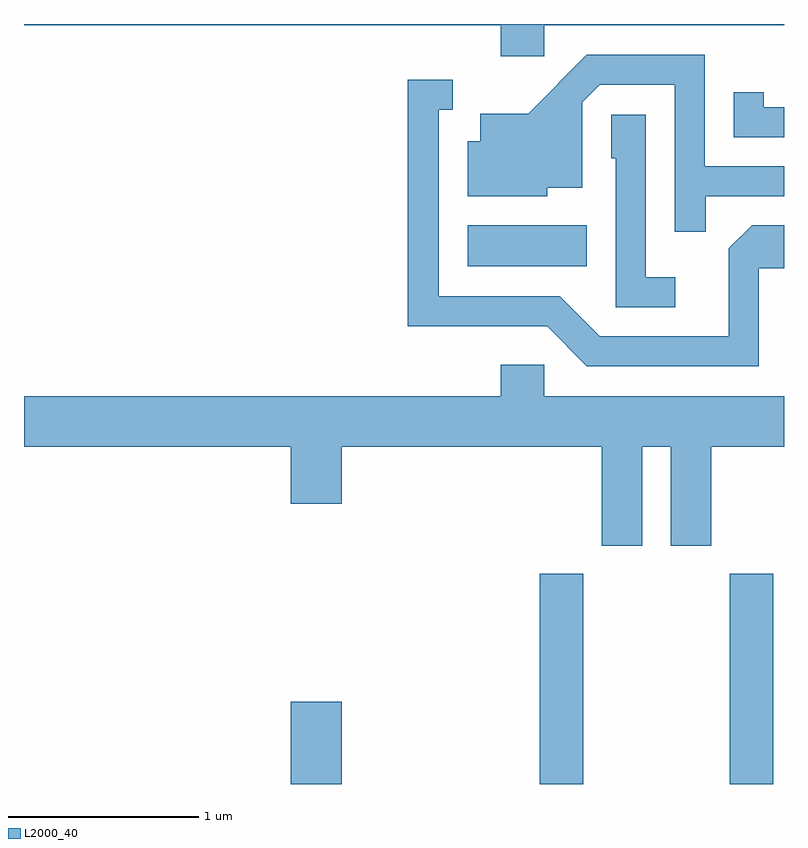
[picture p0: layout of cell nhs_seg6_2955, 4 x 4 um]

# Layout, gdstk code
import gdstk
lib = gdstk.Library(unit=1e-6, precision=1e-09)
def R(c, l, rs):  # rectangles x0, y0, x1, y1
    for r in rs: c.add(gdstk.rectangle(r[:2], r[2:], *l))
def P(c, l, *ps):  # polygons
    for p in ps: c.add(gdstk.Polygon(p, *l))
L2000_40 = (2000, 40)

nhs_seg6_2955 = lib.new_cell('nhs_seg6_2955')
R(nhs_seg6_2955, L2000_40, [(275.016,1648.162,275.284,1648.594), (276.326,1648.162,276.554,1649.269), (277.326,1648.162,277.554,1649.269), (275.946,1650.886,276.574,1651.104)])
P(nhs_seg6_2955, L2000_40, [(276.349,1652.156),(277.611,1652.156),(277.611,1652.162),(273.611,1652.162),(273.611,1652.156),(276.121,1652.156),(276.121,1651.991),(276.349,1651.991)],
  [(277.199,1651.256),(277.611,1651.256),(277.611,1651.414),(277.194,1651.414),(277.194,1651.999),(276.574,1651.999),(276.264,1651.689),(276.011,1651.689),(276.011,1651.544),(275.946,1651.544),(275.946,1651.256),(276.364,1651.256),(276.364,1651.301),(276.549,1651.301),(276.549,1651.749),(276.642,1651.841),(277.036,1651.841),(277.036,1651.068),(277.199,1651.068)],
  [(277.479,1650.876),(277.611,1650.876),(277.611,1651.104),(277.444,1651.104),(277.321,1650.982),(277.321,1650.519),(276.642,1650.519),(276.432,1650.729),(275.794,1650.729),(275.794,1651.711),(275.868,1651.711),(275.868,1651.869),(275.631,1651.869),(275.631,1650.571),(276.364,1650.571),(276.574,1650.361),(277.479,1650.361)],
  [(277.611,1651.724),(277.504,1651.724),(277.504,1651.803),(277.346,1651.803),(277.346,1651.566),(277.611,1651.566)],
  [(277.038,1650.829),(276.884,1650.829),(276.884,1651.684),(276.701,1651.684),(276.701,1651.456),(276.726,1651.456),(276.726,1650.671),(277.038,1650.671)],
  [(276.864,1649.936),(277.016,1649.936),(277.016,1649.416),(277.229,1649.416),(277.229,1649.936),(277.611,1649.936),(277.611,1650.204),(276.349,1650.204),(276.349,1650.369),(276.121,1650.369),(276.121,1650.204),(273.611,1650.204),(273.611,1649.936),(275.016,1649.936),(275.016,1649.636),(275.284,1649.636),(275.284,1649.936),(276.651,1649.936),(276.651,1649.416),(276.864,1649.416)])

lib.write_gds('nhs_seg6_2955.gds')
